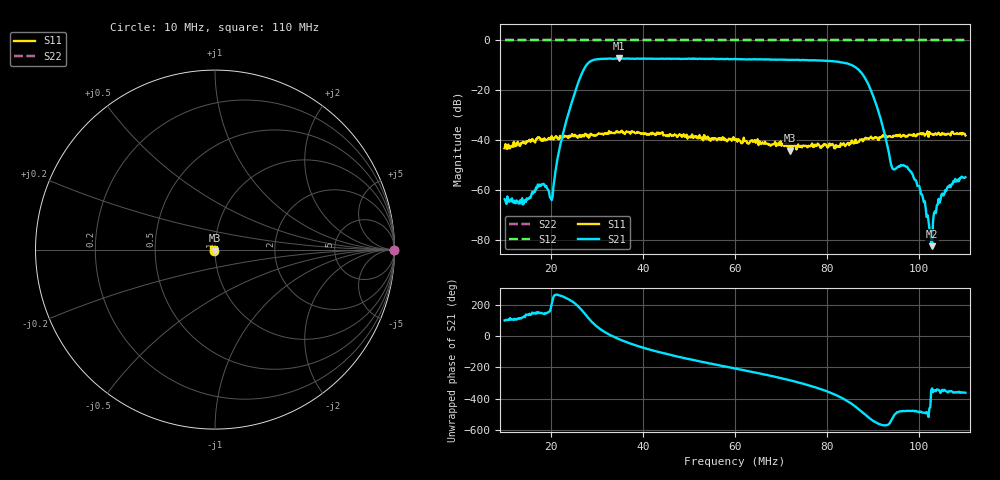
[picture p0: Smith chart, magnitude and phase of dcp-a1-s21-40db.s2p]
! Anritsu VNA Master:  Model: MS2034B/10/19/501
! SN:  1337062
! /bd0/ovro-jan-2016/dcp-a1-s21-40db.s2p
! Existing Calibration Information:
! TYPE:  Current Settings,  Active Cal Settings
! TIME:  01/10/2016 03:29:58 PM,  01/10/2016 03:13:30 PM
! INTERNAL TEMP:  43.3 C,  45.8 C
! # POINTS:  500,  500
! START FREQ:  10.000 MHz,  10.000 MHz
! STOP FREQ:  110.000 MHz,  110.000 MHz
! SOURCE POWER:  Low,  Low
! IFBW:  100 Hz,  100 Hz
! AVG FACTOR:  3 ,  3
! REF PLANE 1:  2.2245 m,  2.2245 m
! REF PLANE 2:  0 mm,  0 mm
! CAL TYPE:  1P2P S11,S21,  1P2P S11,S21
! CAL METHOD:  SOLT,  SOLT
! CAL LINE TYPE:  Coax,  Coax
! DUT PORT 1:  K-Conn(M),  K-Conn(M)
! DUT PORT 2:  N-Conn(M),  N-Conn(M)
! CAL STATUS:  OK: Accuracy High,  --
# GHZ S DB R 50.0
! FREQ.GHZ  S11DB  S11A  S21DB  S21A  S12DB  S12A  S22DB  S22A
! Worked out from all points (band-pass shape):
!   500 points, 10 MHz to 110 MHz, reference 50 ohm
!   highest |S21| = -7.22 dB at 34.85 MHz (marker M1); lowest = -82.6 dB at 102.8 MHz (marker M2)
!   |S21| within 3 dB of the highest: 27.63 MHz to 85.67 MHz (58.04 MHz wide, 102 % of centre)
!   lowest |S11| = -44.2 dB at 71.92 MHz (marker M3), VSWR 1.01, Z = 50.1 - j0.597 ohm
!   |S11| at or under -10 dB: start of sweep to end of sweep
!   |S22| runs from 0.0 to 0.0 dB; largest |S21 - S12| = 1.4
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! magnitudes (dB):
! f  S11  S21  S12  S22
! 10 MHz  -43.3  -63.7  0.0  0.0
! 14.41 MHz  -41.1  -64.1  0.0  0.0
! 18.02 MHz  -40.2  -57.8  0.0  0.0
! 20.22 MHz  -38.4  -64.1  0.0  0.0
! 22.63 MHz  -39.0  -37.7  0.0  0.0
! 26.83 MHz  -38.0  -13.0  0.0  0.0
! 29.04 MHz  -38.0  -8.0  0.0  0.0
! 34.85 MHz  -36.9  -7.2  0.0  0.0
! 43.47 MHz  -37.0  -7.3  0.0  0.0
! 60.1 MHz  -39.7  -7.5  0.0  0.0
! 71.92 MHz  -44.2  -7.8  0.0  0.0
! 76.73 MHz  -41.3  -8.0  0.0  0.0
! 87.35 MHz  -39.8  -12.8  0.0  0.0
! 90.56 MHz  -38.9  -25.3  0.0  0.0
! 93.37 MHz  -38.4  -44.8  0.0  0.0
! 94.37 MHz  -38.2  -51.7  0.0  0.0
! 98.38 MHz  -37.9  -53.2  0.0  0.0
! 101 MHz  -37.4  -64.9  0.0  0.0
! 102.4 MHz  -37.4  -76.8  0.0  0.0
! 102.8 MHz  -37.8  -82.6  0.0  0.0
! 104.6 MHz  -38.0  -64.0  0.0  0.0
! 110 MHz  -38.2  -54.9  0.0  0.0
